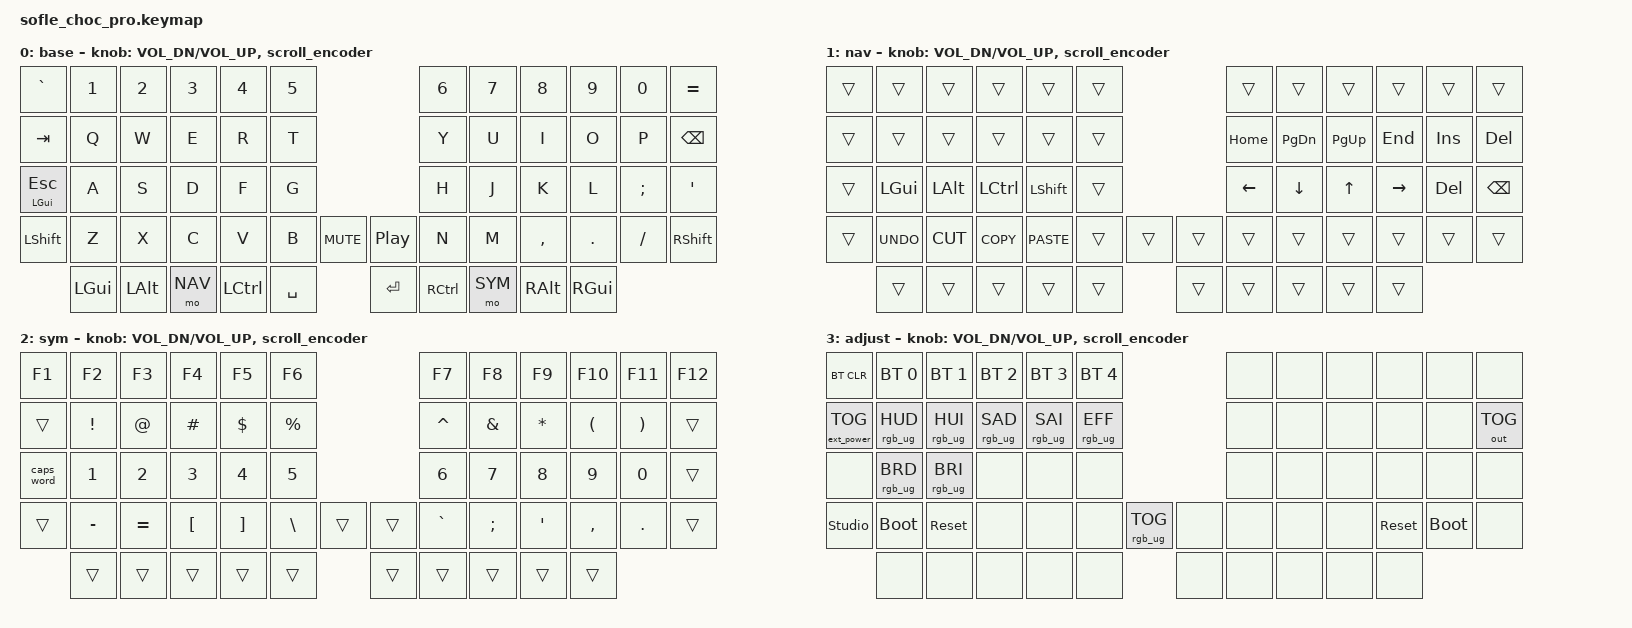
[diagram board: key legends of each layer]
/*
* Copyright (c) 2020 The ZMK Contributors
*
* SPDX-License-Identifier: MIT
*/

#include <behaviors.dtsi>
#include <dt-bindings/zmk/keys.h>
#include <dt-bindings/zmk/bt.h>
#include <dt-bindings/zmk/outputs.h>
#include <dt-bindings/zmk/pointing.h>
#include <dt-bindings/zmk/rgb.h>
#include <dt-bindings/zmk/ext_power.h>

#define BASE   0
#define NAV    1
#define SYM    2
#define ADJUST 3

/ {

  // Hold NAV and SYM together to reach ADJUST.
  conditional_layers {
    compatible = "zmk,conditional-layers";
    adjust_layer {
      if-layers = <NAV SYM>;
      then-layer = <ADJUST>;
    };
  };

  behaviors {
    // Caps-position key: hold for a mod, tap for a key.
    // Balanced flavor plus require-prior-idle-ms: a fast typist never gets a stray hold.
    hm: hold_tap_mod {
      compatible = "zmk,behavior-hold-tap";
      #binding-cells = <2>;
      flavor = "balanced";
      tapping-term-ms = <200>;
      quick-tap-ms = <175>;
      require-prior-idle-ms = <150>;
      bindings = <&kp>, <&kp>;
    };
  };

  scroll_encoder: scroll_encoder {
    compatible = "zmk,behavior-sensor-rotate";
    #sensor-binding-cells = <0>;
    bindings = <&msc SCRL_DOWN>, <&msc SCRL_UP>;
    tap-ms = <20>;
  };

  keymap {
    compatible = "zmk,keymap";

    default_layer {
      display-name = "base";
      // -----------------------------------------------------------------------------------------------
      // |   `   |  1  |  2  |  3  |  4  |  5  |                 |  6  |  7  |  8  |  9  |  0  |   =   |
      // |  TAB  |  Q  |  W  |  E  |  R  |  T  |                 |  Y  |  U  |  I  |  O  |  P  | BKSPC |
      // | GUI/ESC |  A  |  S  |  D  |  F  |  G  |               |  H  |  J  |  K  |  L  |  ;  |   '   |
      // | SHIFT |  Z  |  X  |  C  |  V  |  B  | MUTE  |  | PLAY |  N  |  M  |  ,  |  .  |  /  | SHIFT |
      //               | GUI | ALT | NAV | CTRL | SPACE | | ENTER | CTRL | SYM | ALT | GUI |
      bindings = <
        &kp GRAVE    &kp N1 &kp N2 &kp N3 &kp N4 &kp N5                            &kp N6 &kp N7 &kp N8    &kp N9  &kp N0   &kp EQUAL
        &kp TAB      &kp Q  &kp W  &kp E  &kp R  &kp T                             &kp Y  &kp U  &kp I     &kp O   &kp P    &kp BSPC
        &hm LGUI ESC &kp A  &kp S  &kp D  &kp F  &kp G                             &kp H  &kp J  &kp K     &kp L   &kp SEMI &kp SQT
        &kp LSHFT    &kp Z  &kp X  &kp C  &kp V  &kp B  &kp C_MUTE &kp C_PLAY_PAUSE &kp N &kp M  &kp COMMA &kp DOT &kp FSLH &kp RSHFT
                     &kp LGUI &kp LALT &mo NAV &kp LCTRL &kp SPACE  &kp RET &kp RCTRL &mo SYM &kp RALT &kp RGUI
      >;

      sensor-bindings = <&inc_dec_kp C_VOL_DN C_VOL_UP &scroll_encoder>;
    };

    nav_layer {
      display-name = "nav";
      // Left thumb holds it. The right hand gets the arrows on H J K L;
      // the left home row gets the mods, so Ctrl-Left and Shift-Down stay in reach.
      // -----------------------------------------------------------------------------------------------
      // |       |      |     |      |       |     |                 | HOME | PGDN | PGUP | END | INS | DEL  |
      // |       | GUI  | ALT | CTRL | SHIFT |     |                 |  <-  |  v   |  ^   |  -> | DEL | BKSPC|
      // |       | UNDO | CUT | COPY | PASTE |     |      |  |       |      |      |      |     |     |      |
      bindings = <
        &trans &trans     &trans    &trans     &trans      &trans                   &trans    &trans    &trans    &trans    &trans   &trans
        &trans &trans     &trans    &trans     &trans      &trans                   &kp HOME  &kp PG_DN &kp PG_UP &kp END   &kp INS  &kp DEL
        &trans &kp LGUI   &kp LALT  &kp LCTRL  &kp LSHFT   &trans                   &kp LEFT  &kp DOWN  &kp UP    &kp RIGHT &kp DEL  &kp BSPC
        &trans &kp K_UNDO &kp K_CUT &kp K_COPY &kp K_PASTE &trans  &trans  &trans   &trans    &trans    &trans    &trans    &trans   &trans
                          &trans    &trans     &trans      &trans  &trans  &trans   &trans    &trans    &trans    &trans
      >;

      sensor-bindings = <&inc_dec_kp C_VOL_DN C_VOL_UP &scroll_encoder>;
    };

    sym_layer {
      display-name = "sym";
      // Right thumb holds it. Numbers land on the left home row — that is the point.
      // -----------------------------------------------------------------------------------------------
      // |  F1 | F2 | F3 | F4 | F5 | F6 |                 | F7 | F8 | F9 | F10 | F11 | F12 |
      // |     |  ! |  @ |  # |  $ |  % |                 |  ^ |  & |  * |  (  |  )  |     |
      // |CAPS |  1 |  2 |  3 |  4 |  5 |                 |  6 |  7 |  8 |  9  |  0  |     |
      // |     |  - |  = |  [ |  ] |  \ |     |  |        |  ` |  ; |  ' |  ,  |  .  |     |
      bindings = <
        &kp F1 &kp F2     &kp F3    &kp F4    &kp F5   &kp F6                        &kp F7    &kp F8   &kp F9    &kp F10   &kp F11 &kp F12
        &trans &kp EXCL   &kp AT    &kp HASH  &kp DLLR &kp PRCNT                     &kp CARET &kp AMPS &kp ASTRK &kp LPAR  &kp RPAR &trans
        &caps_word &kp N1 &kp N2    &kp N3    &kp N4   &kp N5                        &kp N6    &kp N7   &kp N8    &kp N9    &kp N0   &trans
        &trans &kp MINUS  &kp EQUAL &kp LBKT  &kp RBKT &kp BSLH  &trans  &trans      &kp GRAVE &kp SEMI &kp SQT   &kp COMMA &kp DOT  &trans
                          &trans    &trans    &trans   &trans    &trans  &trans      &trans    &trans   &trans    &trans
      >;

      sensor-bindings = <&inc_dec_kp C_VOL_DN C_VOL_UP &scroll_encoder>;
    };

    adjust_layer {
      display-name = "adjust";
      // Both thumbs. Bluetooth, RGB, and the two ways back into the bootloader.
      bindings = <
        &bt BT_CLR        &bt BT_SEL 0    &bt BT_SEL 1    &bt BT_SEL 2    &bt BT_SEL 3    &bt BT_SEL 4                        &none &none &none &none      &none        &none
        &ext_power EP_TOG &rgb_ug RGB_HUD &rgb_ug RGB_HUI &rgb_ug RGB_SAD &rgb_ug RGB_SAI &rgb_ug RGB_EFF                     &none &none &none &none      &none        &out OUT_TOG
        &none             &rgb_ug RGB_BRD &rgb_ug RGB_BRI &none           &none           &none                               &none &none &none &none      &none        &none
        &studio_unlock    &bootloader     &sys_reset      &none           &none           &none  &rgb_ug RGB_TOG &none        &none &none &none &sys_reset &bootloader  &none
                                          &none           &none           &none           &none  &none           &none        &none &none &none &none
      >;

      sensor-bindings = <&inc_dec_kp C_VOL_DN C_VOL_UP &scroll_encoder>;
    };
  };
};
